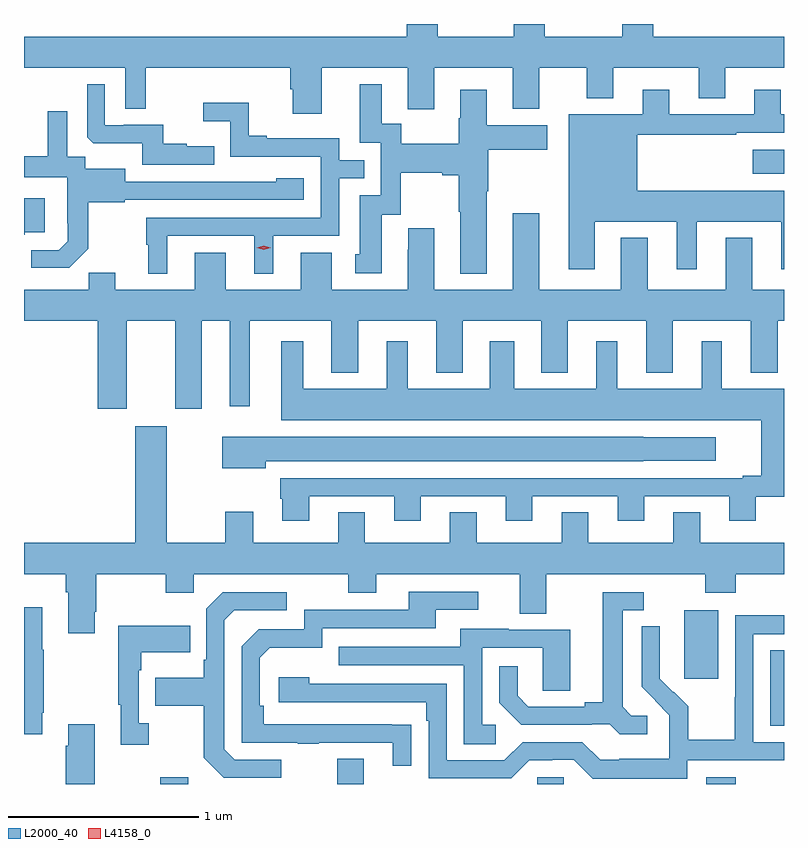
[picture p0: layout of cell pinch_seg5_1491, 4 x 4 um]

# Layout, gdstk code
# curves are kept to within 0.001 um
import gdstk
lib = gdstk.Library(unit=1e-6, precision=1e-09)
def R(c, l, rs):  # rectangles x0, y0, x1, y1
    for r in rs: c.add(gdstk.rectangle(r[:2], r[2:], *l))
def P(c, l, *ps):  # polygons
    for p in ps: c.add(gdstk.Polygon(p, *l))
L2000_40 = (2000, 40)
L4158_0 = (4158, 0)

pinch_seg5_1491 = lib.new_cell('pinch_seg5_1491')
R(pinch_seg5_1491, L2000_40, [(254.494,842.335,254.641,842.371), (255.425,842.335,255.565,842.467), (256.479,842.335,256.617,842.37), (257.369,842.335,257.522,842.371), (257.705,842.641,257.777,843.038), (257.252,842.889,257.431,843.25), (257.613,845.546,257.777,845.674)])
P(pinch_seg5_1491, L2000_40, [(255.343,846.104),(255.797,846.104),(255.797,845.886),(255.937,845.886),(255.937,846.104),(256.349,846.104),(256.349,845.888),(256.489,845.888),(256.489,846.104),(256.739,846.104),(256.739,845.945),(256.879,845.945),(256.879,846.104),(257.327,846.104),(257.327,845.944),(257.467,845.944),(257.467,846.104),(257.777,846.104),(257.777,846.268),(257.089,846.268),(257.089,846.335),(256.925,846.335),(256.925,846.268),(256.519,846.268),(256.519,846.335),(256.355,846.335),(256.355,846.268),(255.955,846.268),(255.955,846.335),(255.791,846.335),(255.791,846.268),(253.777,846.268),(253.777,846.104),(254.31,846.104),(254.31,845.89),(254.419,845.89),(254.419,846.104),(255.179,846.104),(255.179,845.991),(255.191,845.991),(255.191,845.862),(255.343,845.862)],
  [(256.213,845.456),(256.221,845.456),(256.221,845.674),(256.531,845.674),(256.531,845.803),(256.213,845.803),(256.213,845.989),(256.073,845.989),(256.073,845.838),(256.066,845.838),(256.066,845.704),(255.763,845.704),(255.763,845.81),(255.661,845.81),(255.661,846.019),(255.545,846.019),(255.545,845.709),(255.654,845.709),(255.654,845.433),(255.545,845.433),(255.545,845.124),(255.521,845.124),(255.521,845.022),(255.661,845.022),(255.661,845.33),(255.759,845.33),(255.759,845.552),(255.977,845.552),(255.977,845.54),(256.066,845.54),(256.066,845.347),(256.073,845.347),(256.073,845.021),(256.213,845.021)],
  [(254.777,845.692),(254.633,845.692),(254.633,845.704),(254.51,845.704),(254.51,845.805),(254.302,845.805),(254.302,845.802),(254.202,845.802),(254.202,846.019),(254.109,846.019),(254.109,845.739),(254.141,845.708),(254.4,845.708),(254.4,845.595),(254.777,845.595)],
  [(256.78,845.294),(257.213,845.294),(257.213,845.043),(257.317,845.043),(257.317,845.294),(257.762,845.294),(257.762,845.043),(257.777,845.043),(257.777,845.458),(257.005,845.458),(257.005,845.751),(257.525,845.751),(257.525,845.763),(257.777,845.763),(257.777,845.859),(257.761,845.859),(257.761,845.989),(257.621,845.989),(257.621,845.859),(257.173,845.859),(257.173,845.989),(257.033,845.989),(257.033,845.86),(256.643,845.86),(256.643,845.043),(256.78,845.043)],
  [(254.53,845.22),(254.99,845.22),(254.99,845.021),(255.088,845.021),(255.088,845.22),(255.435,845.22),(255.435,845.523),(255.569,845.523),(255.569,845.619),(255.435,845.619),(255.435,845.733),(255.055,845.733),(255.055,845.746),(254.961,845.746),(254.961,845.921),(254.721,845.921),(254.721,845.822),(254.862,845.822),(254.862,845.637),(255.339,845.637),(255.339,845.316),(254.421,845.316),(254.421,845.172),(254.432,845.172),(254.432,845.021),(254.53,845.021)],
  [(254.115,845.151),(254.115,845.397),(254.307,845.397),(254.307,845.409),(255.25,845.409),(255.25,845.524),(255.105,845.524),(255.105,845.506),(254.311,845.505),(254.311,845.572),(254.1,845.572),(254.1,845.636),(254.005,845.636),(254.005,845.875),(253.901,845.875),(253.901,845.638),(253.777,845.638),(253.777,845.528),(254.004,845.528),(254.004,845.287),(254.006,845.287),(254.006,845.192),(253.959,845.145),(253.815,845.145),(253.815,845.051),(254.015,845.051)],
  [(253.781,845.238),(253.885,845.238),(253.885,845.419),(253.777,845.419),(253.777,845.226),(253.781,845.226)],
  [(254.257,845.027),(254.119,845.027),(254.119,844.936),(253.777,844.936),(253.777,844.772),(254.165,844.772),(254.165,844.311),(254.317,844.311),(254.317,844.772),(254.573,844.772),(254.573,844.311),(254.713,844.311),(254.713,844.772),(254.861,844.772),(254.861,844.323),(254.965,844.323),(254.965,844.772),(255.395,844.772),(255.395,844.499),(255.535,844.499),(255.535,844.772),(255.947,844.772),(255.947,844.499),(256.087,844.499),(256.087,844.772),(256.499,844.772),(256.499,844.499),(256.639,844.499),(256.639,844.772),(257.051,844.772),(257.051,844.499),(257.191,844.499),(257.191,844.772),(257.603,844.772),(257.603,844.499),(257.743,844.499),(257.743,844.772),(257.777,844.772),(257.777,844.936),(257.611,844.936),(257.611,845.209),(257.471,845.209),(257.471,844.936),(257.059,844.936),(257.059,845.209),(256.919,845.209),(256.919,844.936),(256.489,844.936),(256.489,845.338),(256.349,845.338),(256.349,844.936),(255.937,844.936),(255.937,845.26),(255.8,845.26),(255.8,845.147),(255.797,845.147),(255.797,844.936),(255.397,844.936),(255.397,845.131),(255.233,845.131),(255.233,844.936),(254.839,844.936),(254.839,845.131),(254.675,845.131),(254.675,844.936),(254.257,844.936)],
  [(255.277,843.849),(255.725,843.849),(255.725,843.72),(255.865,843.72),(255.865,843.849),(256.313,843.849),(256.313,843.72),(256.453,843.72),(256.453,843.849),(256.901,843.849),(256.901,843.72),(257.041,843.72),(257.041,843.849),(257.489,843.849),(257.489,843.72),(257.629,843.72),(257.629,843.848),(257.777,843.848),(257.777,844.414),(257.449,844.414),(257.449,844.666),(257.345,844.666),(257.345,844.414),(256.9,844.414),(256.9,844.666),(256.79,844.666),(256.79,844.414),(256.357,844.414),(256.357,844.666),(256.229,844.666),(256.229,844.414),(255.796,844.414),(255.796,844.666),(255.686,844.666),(255.686,844.414),(255.247,844.414),(255.247,844.666),(255.131,844.666),(255.131,844.25),(257.657,844.25),(257.657,843.958),(257.561,843.958),(257.561,843.945),(255.125,843.945),(255.125,843.837),(255.137,843.837),(255.137,843.72),(255.277,843.72)],
  [(255.431,843.604),(254.983,843.604),(254.983,843.769),(254.836,843.769),(254.836,843.604),(254.527,843.604),(254.527,844.219),(254.363,844.219),(254.363,843.604),(253.777,843.604),(253.777,843.44),(253.997,843.44),(253.997,843.344),(254.009,843.344),(254.009,843.129),(254.149,843.129),(254.149,843.241),(254.157,843.241),(254.157,843.44),(254.524,843.44),(254.524,843.341),(254.67,843.341),(254.67,843.44),(255.484,843.44),(255.484,843.341),(255.631,843.341),(255.631,843.44),(256.385,843.44),(256.385,843.232),(256.525,843.232),(256.525,843.44),(257.362,843.44),(257.362,843.341),(257.522,843.341),(257.522,843.44),(257.777,843.44),(257.777,843.604),(257.335,843.604),(257.335,843.764),(257.195,843.764),(257.195,843.604),(256.747,843.604),(256.747,843.764),(256.607,843.764),(256.607,843.604),(256.159,843.604),(256.159,843.764),(256.019,843.764),(256.019,843.604),(255.571,843.604),(255.571,843.764),(255.431,843.764)],
  [(255.049,844.034),(257.037,844.034),(257.037,844.037),(257.419,844.037),(257.419,844.159),(257.037,844.159),(257.037,844.162),(254.82,844.162),(254.82,843.998),(255.049,843.998)],
  [(255.815,842.648),(255.038,842.649),(255.038,842.746),(255.018,842.746),(255.018,843),(255.071,843.053),(255.348,843.053),(255.348,843.156),(255.943,843.156),(255.943,843.252),(256.168,843.252),(256.168,843.348),(255.803,843.348),(255.803,843.252),(255.252,843.252),(255.252,843.15),(255.012,843.15),(254.922,843.06),(254.922,842.553),(255.217,842.553),(255.217,842.548),(255.329,842.548),(255.329,842.553),(255.719,842.553),(255.719,842.43),(255.815,842.43)],
  [(257.056,842.694),(256.974,842.694),(256.927,842.741),(256.927,843.249),(257.038,843.249),(257.038,843.345),(256.823,843.345),(256.823,842.765),(256.727,842.765),(256.727,842.742),(256.432,842.742),(256.375,842.799),(256.375,842.956),(256.278,842.956),(256.278,842.762),(256.394,842.646),(256.766,842.646),(256.766,842.649),(256.86,842.649),(256.912,842.597),(257.056,842.597)],
  [(255.13,842.463),(254.886,842.463),(254.832,842.517),(254.832,843.198),(254.883,843.249),(255.16,843.249),(255.16,843.345),(254.823,843.345),(254.736,843.258),(254.736,842.989),(254.724,842.989),(254.724,842.893),(254.467,842.893),(254.467,842.746),(254.724,842.746),(254.724,842.473),(254.829,842.367),(255.13,842.367)],
  [(253.873,842.71),(253.881,842.71),(253.881,843.041),(253.873,843.041),(253.873,843.265),(253.777,843.265),(253.777,842.598),(253.873,842.598)],
  [(257.268,842.46),(257.777,842.46),(257.777,842.556),(257.616,842.556),(257.616,843.123),(257.777,843.123),(257.777,843.222),(257.52,843.222),(257.52,842.792),(257.517,842.792),(257.517,842.569),(257.273,842.569),(257.273,842.743),(257.196,842.82),(257.193,842.817),(257.123,842.888),(257.124,843.164),(257.028,843.164),(257.028,842.846),(257.174,842.698),(257.174,842.601),(257.172,842.601),(257.172,842.467),(256.909,842.467),(256.909,842.463),(256.809,842.463),(256.716,842.556),(256.401,842.556),(256.305,842.46),(256.002,842.46),(256.002,842.862),(255.278,842.862),(255.278,842.896),(255.117,842.896),(255.117,842.766),(255.893,842.766),(255.893,842.669),(255.906,842.669),(255.906,842.364),(256.341,842.364),(256.437,842.46),(256.556,842.46),(256.556,842.463),(256.671,842.463),(256.771,842.363),(257.268,842.363)],
  [(254.434,842.654),(254.382,842.654),(254.382,842.933),(254.395,842.933),(254.395,843.029),(254.651,843.029),(254.651,843.169),(254.274,843.169),(254.274,842.753),(254.285,842.753),(254.285,842.541),(254.434,842.541)],
  [(256.261,842.646),(256.188,842.646),(256.188,843.051),(256.506,843.051),(256.506,842.827),(256.651,842.827),(256.651,843.147),(256.327,843.147),(256.327,843.151),(256.073,843.151),(256.073,843.057),(255.433,843.057),(255.433,842.961),(256.092,842.961),(256.092,842.545),(256.261,842.545)],
  [(254.149,842.65),(254.009,842.65),(254.009,842.537),(253.997,842.537),(253.997,842.335),(254.149,842.335)])
P(pinch_seg5_1491, L4158_0, [(255.039,845.148),(255.003,845.158),(255.003,845.158),(255.003,845.158),(255.039,845.168),(255.075,845.158),(255.075,845.158),(255.075,845.158)])

lib.write_gds('pinch_seg5_1491.gds')
